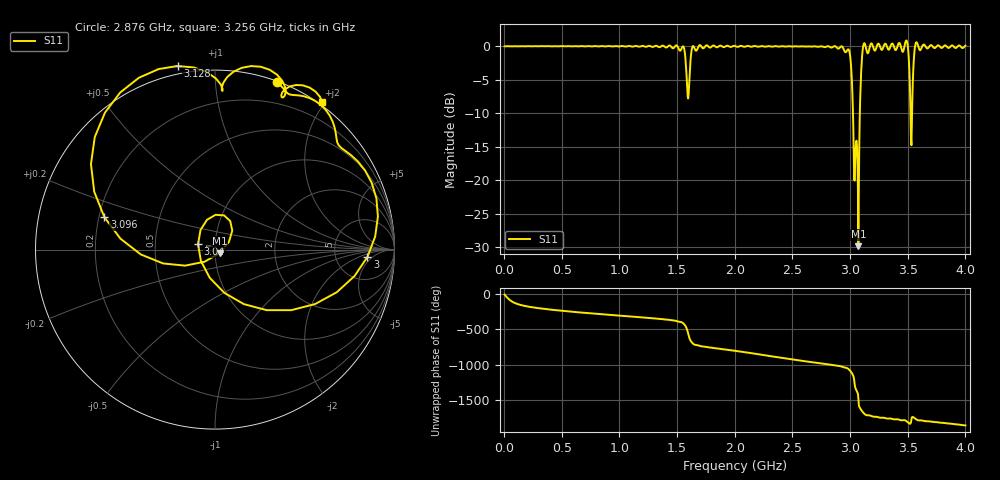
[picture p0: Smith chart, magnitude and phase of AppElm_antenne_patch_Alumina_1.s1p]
! TOUCHSTONE file generated by CST MICROWAVE STUDIO
! Date and time: Thu Jun  9 07:39:54 2022
! Project name: AppElm_antenne_patch_Alumina.cst
! Parameters = {L=30.5; W=31.35; e=0.035; h=1.6; lambda=0.190476; ls=90; w0=1.12; w1=0.373; ws=90; y0=14; y1=10}
! Header version: 2018
! Port assignment regex: !\s*Touchstone port\s*([0-9]+)\s*=\s*(CST MWS port|CST DS port)\s*([0-9]+|Zmin|Zmax)\s*\(\"(.*)\"\)(\s*mode\s*([0-9]+))?.*
! Touchstone port assignment:
! Touchstone port 1 = CST MWS port 1 ("")
# GHz S MA R 50
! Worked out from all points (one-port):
!   1000 points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, 4 MHz to 4 GHz, reference 50 ohm
!   lowest |S11| = -29.9 dB at 3.072 GHz (marker M1), VSWR 1.07, Z = 52.5 - j2.09 ohm
!   |S11| at or under -10 dB: 3.025 GHz to 3.085 GHz (59.68 MHz wide, 1.95 % of centre); 3.5242 GHz to 3.53747 GHz (13.27 MHz wide, 0.376 % of centre)
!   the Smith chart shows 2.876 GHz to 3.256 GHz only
!   S11 on the Smith chart (normalised r, x): 2.876 GHz: 0.01, +1.43; 3 GHz: 11, -3; 3.04 GHz: 0.83, +0.05; 3.096 GHz: 0.22, +0.14; 3.128 GHz: -0.04, +0.82; 3.256 GHz: -0.04, +1.97
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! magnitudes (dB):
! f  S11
! 4 MHz  0.0
! 504 MHz  0.0
! 1.004 GHz  0.0
! 1.504 GHz  0.0
! 1.556 GHz  -0.1
! 1.596 GHz  -7.8
! 1.644 GHz  0.0
! 2.004 GHz  0.0
! 2.504 GHz  0.0
! 2.876 GHz  -0.1
! 3 GHz  -1.4
! 3.004 GHz  -2.0
! 3.04 GHz  -20.1
! 3.056 GHz  -14.1
! 3.072 GHz  -29.9
! 3.088 GHz  -7.7
! 3.096 GHz  -3.8
! 3.108 GHz  -0.7
! 3.128 GHz  0.4
! 3.256 GHz  0.1
! 3.484 GHz  0.8
! 3.504 GHz  -0.6
! 3.516 GHz  -4.5
! 3.532 GHz  -14.8
! 3.544 GHz  -5.4
! 3.564 GHz  0.0
! 3.58 GHz  0.5
! 4 GHz  0.1
